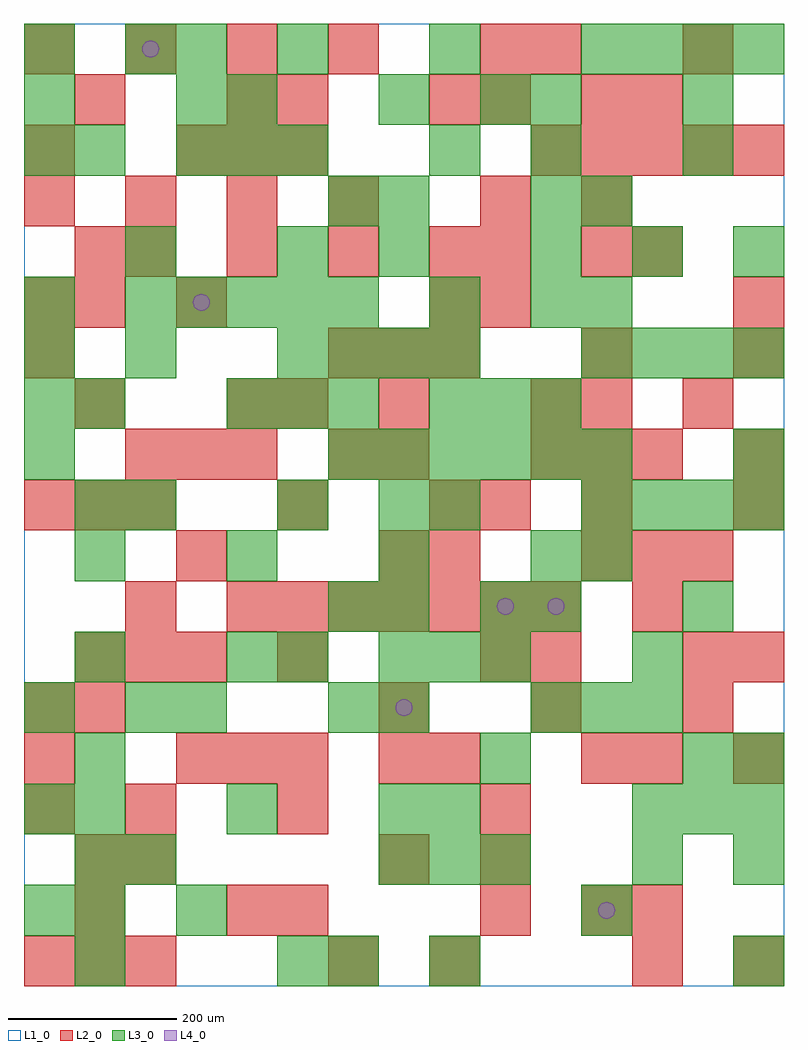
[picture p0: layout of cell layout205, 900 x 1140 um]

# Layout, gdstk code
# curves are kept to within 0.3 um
import gdstk
lib = gdstk.Library(unit=1e-6, precision=1e-09)
def R(c, l, rs):  # rectangles x0, y0, x1, y1
    for r in rs: c.add(gdstk.rectangle(r[:2], r[2:], *l))
def A(c, l, x, y, w, h, nx, ny, dx, dy):  # array of equal rectangles
    R(c, l, [(x+i*dx, y+j*dy, x+i*dx+w, y+j*dy+h) for i in range(nx) for j in range(ny)])
def P(c, l, *ps):  # polygons
    for p in ps: c.add(gdstk.Polygon(p, *l))
L1_0 = (1, 0)
L2_0 = (2, 0)
L3_0 = (3, 0)
L4_0 = (4, 0)

layout205 = lib.new_cell('layout205')
R(layout205, L1_0, [(0,0,900,1140)])
A(layout205, L2_0, 0, 0, 60, 60, 3, 2, 60, 540)
A(layout205, L2_0, 480, 0, 60, 60, 1, 3, 0, 240)
A(layout205, L2_0, 540, 60, 60, 60, 1, 3, 0, 60)
A(layout205, L2_0, 720, 60, 60, 60, 1, 3, 0, 180)
A(layout205, L2_0, 0, 180, 60, 60, 1, 3, 0, 60)
A(layout205, L2_0, 300, 180, 60, 60, 1, 3, 0, 180)
A(layout205, L2_0, 180, 240, 60, 60, 3, 2, 60, 720)
A(layout205, L2_0, 420, 300, 60, 60, 3, 1, 180, 0)
A(layout205, L2_0, 60, 360, 60, 60, 3, 1, 60, 0)
A(layout205, L2_0, 240, 420, 60, 60, 7, 1, 60, 0)
A(layout205, L2_0, 660, 480, 60, 60, 3, 1, 60, 0)
A(layout205, L2_0, 480, 540, 60, 60, 1, 3, 0, 240)
A(layout205, L2_0, 120, 600, 60, 60, 3, 1, 60, 0)
A(layout205, L2_0, 600, 600, 60, 60, 3, 1, 60, 0)
A(layout205, L2_0, 360, 720, 60, 60, 3, 1, 60, 0)
A(layout205, L2_0, 540, 780, 60, 60, 1, 3, 0, 60)
A(layout205, L2_0, 120, 840, 60, 60, 4, 1, 120, 0)
A(layout205, L2_0, 0, 900, 60, 60, 4, 2, 120, 180)
A(layout205, L2_0, 600, 960, 60, 60, 5, 1, 60, 0)
R(layout205, L2_0, [(360,0,420,60), (720,0,780,60), (840,0,900,60), (60,60,120,120), (240,60,300,120), (300,60,360,120), (660,60,720,120), (60,120,120,180), (120,120,180,180), (420,120,480,180), (120,180,180,240), (420,240,480,300), (660,240,720,300), (840,240,900,300), (60,300,120,360), (540,360,600,420), (600,360,660,420), (780,360,840,420), (840,360,900,420), (120,420,180,480), (180,480,240,540), (420,480,480,540), (540,540,600,600), (660,540,720,600), (840,540,900,600), (360,600,420,660), (420,600,480,660), (840,600,900,660), (60,660,120,720), (240,660,300,720), (300,660,360,720), (420,660,480,720), (600,660,660,720), (660,660,720,720), (780,660,840,720), (0,720,60,780), (660,720,720,780), (840,720,900,780), (0,780,60,840), (60,780,120,840), (180,780,240,840), (840,780,900,840), (60,840,120,900), (660,840,720,900), (720,840,780,900), (660,900,720,960), (0,960,60,1020), (60,1020,120,1080), (240,1020,300,1080), (300,1020,360,1080), (540,1020,600,1080), (660,1020,720,1080), (720,1020,780,1080), (540,1080,600,1140), (600,1080,660,1140), (780,1080,840,1140)])
A(layout205, L3_0, 60, 0, 60, 60, 1, 3, 0, 60)
A(layout205, L3_0, 840, 0, 60, 60, 1, 3, 0, 120)
A(layout205, L3_0, 0, 60, 60, 60, 1, 3, 0, 120)
A(layout205, L3_0, 420, 120, 60, 60, 3, 2, 60, 240)
A(layout205, L3_0, 60, 180, 60, 60, 3, 1, 180, 0)
A(layout205, L3_0, 720, 180, 60, 60, 3, 2, 60, 900)
A(layout205, L3_0, 420, 300, 60, 60, 1, 3, 0, 120)
A(layout205, L3_0, 600, 300, 60, 60, 3, 1, 60, 0)
A(layout205, L3_0, 60, 480, 60, 60, 4, 1, 180, 0)
A(layout205, L3_0, 660, 540, 60, 60, 4, 2, 60, 180)
A(layout205, L3_0, 0, 600, 60, 60, 1, 4, 0, 60)
A(layout205, L3_0, 360, 600, 60, 60, 6, 1, 60, 0)
A(layout205, L3_0, 240, 660, 60, 60, 3, 1, 60, 0)
A(layout205, L3_0, 480, 660, 60, 60, 3, 1, 60, 0)
A(layout205, L3_0, 300, 720, 60, 60, 4, 1, 60, 0)
A(layout205, L3_0, 120, 780, 60, 60, 5, 1, 60, 0)
A(layout205, L3_0, 600, 840, 60, 60, 3, 1, 120, 0)
A(layout205, L3_0, 600, 900, 60, 60, 1, 3, 0, 60)
A(layout205, L3_0, 0, 960, 60, 60, 1, 3, 0, 60)
A(layout205, L3_0, 180, 960, 60, 60, 3, 1, 60, 0)
A(layout205, L3_0, 300, 1080, 60, 60, 3, 1, 180, 0)
R(layout205, L3_0, [(300,0,360,60), (360,0,420,60), (480,0,540,60), (180,60,240,120), (660,60,720,120), (120,120,180,180), (720,120,780,180), (480,180,540,240), (60,240,120,300), (540,240,600,300), (780,240,840,300), (120,300,180,360), (180,300,240,360), (360,300,420,360), (60,360,120,420), (240,360,300,420), (300,360,360,420), (720,360,780,420), (360,420,420,480), (540,420,600,480), (600,420,660,480), (780,420,840,480), (660,480,720,540), (60,540,120,600), (120,540,180,600), (300,540,360,600), (480,540,540,600), (840,600,900,660), (60,660,120,720), (120,720,180,780), (480,780,540,840), (600,780,660,840), (660,780,720,840), (120,840,180,900), (300,840,360,900), (420,840,480,900), (360,900,420,960), (420,900,480,960), (660,900,720,960), (60,960,120,1020), (480,960,540,1020), (780,960,840,1020), (180,1020,240,1080), (240,1020,300,1080), (420,1020,480,1080), (540,1020,600,1080), (780,1020,840,1080), (120,1080,180,1140), (180,1080,240,1140)])
P(layout205, L4_0, [(160,1110),(159.239,1113.827),(157.071,1117.071),(153.827,1119.239),(150,1120),(146.173,1119.239),(142.929,1117.071),(140.761,1113.827),(140,1110),(140.761,1106.173),(142.929,1102.929),(146.173,1100.761),(150,1100),(153.827,1100.761),(157.071,1102.929),(159.239,1106.173)],
  [(220,810),(219.239,813.827),(217.071,817.071),(213.827,819.239),(210,820),(206.173,819.239),(202.929,817.071),(200.761,813.827),(200,810),(200.761,806.173),(202.929,802.929),(206.173,800.761),(210,800),(213.827,800.761),(217.071,802.929),(219.239,806.173)],
  [(460,330),(459.239,333.827),(457.071,337.071),(453.827,339.239),(450,340),(446.173,339.239),(442.929,337.071),(440.761,333.827),(440,330),(440.761,326.173),(442.929,322.929),(446.173,320.761),(450,320),(453.827,320.761),(457.071,322.929),(459.239,326.173)],
  [(580,450),(579.239,453.827),(577.071,457.071),(573.827,459.239),(570,460),(566.173,459.239),(562.929,457.071),(560.761,453.827),(560,450),(560.761,446.173),(562.929,442.929),(566.173,440.761),(570,440),(573.827,440.761),(577.071,442.929),(579.239,446.173)],
  [(640,450),(639.239,453.827),(637.071,457.071),(633.827,459.239),(630,460),(626.173,459.239),(622.929,457.071),(620.761,453.827),(620,450),(620.761,446.173),(622.929,442.929),(626.173,440.761),(630,440),(633.827,440.761),(637.071,442.929),(639.239,446.173)],
  [(700,90),(699.239,93.827),(697.071,97.071),(693.827,99.239),(690,100),(686.173,99.239),(682.929,97.071),(680.761,93.827),(680,90),(680.761,86.173),(682.929,82.929),(686.173,80.761),(690,80),(693.827,80.761),(697.071,82.929),(699.239,86.173)])

lib.write_gds('layout205.gds')
